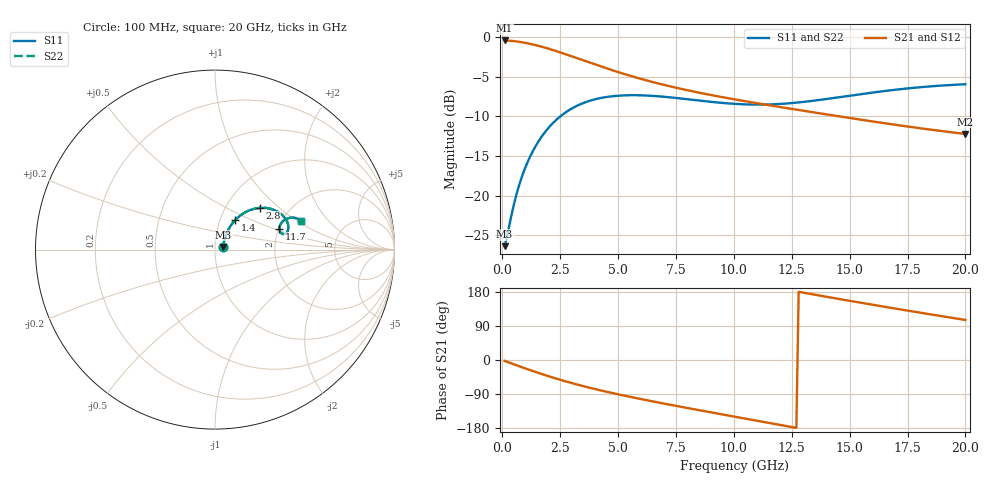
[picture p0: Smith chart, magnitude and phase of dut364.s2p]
! Touchstone file exported from HFSS 2024.1.0
!  File:  C:/UserFiles/LocalFiles/RDL_TSV_Batchsim/temp_RDL_TSV_364_1779641212.aedt
!  Generated:  01:05:12 AM May 25, 2026
!  Design:  RDL_TSV
!  Project:  temp_RDL_TSV_364_1779641212
!  Setup:  Setup1
!  Solution:  Sweep
! Variables:
!  dtsv = 8.88um
!  hbump = 3um
!  htsv = 69.46um
!  ldown = 581.64um
!  lrdl = 503.58um
!  p = 40
!  p1 = 59.18um
!  rhole = 10um
!  subl = 3759.24um
!  t = 450um
!  tdown = 3um
!  trdl = 2.39um
!  viad = 10um
!  wdown = 10.7um
!  wrdl = 10.44um
!  xbump = 18um
# GHz S MA R 50.000000
! Terminal data exported
! Port[1] = TM1_1_T1
! Port[2] = TM1_4_T1
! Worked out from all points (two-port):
!   200 points, 100 MHz to 20 GHz, reference 50 ohm
!   highest |S21| = -0.41 dB at 100 MHz (marker M1); lowest = -12.2 dB at 20 GHz (marker M2)
!   |S21| within 3 dB of the highest: start of sweep to 3.975 GHz
!   lowest |S11| = -26.4 dB at 100 MHz (marker M3), VSWR 1.10, Z = 54.8 + j1.53 ohm
!   |S11| at or under -10 dB: start of sweep to 2.501 GHz
!   |S22| runs from -26.4 to -5.9 dB; largest |S21 - S12| = 9.7e-15
!   S11 on the Smith chart (normalised r, x): 100 MHz: 1.10, +0.03; 1.4 GHz: 1.18, +0.41; 2.8 GHz: 1.43, +0.75; 11.7 GHz: 2.02, +0.55; 20 GHz: 2.51, +1.08
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0.1  0.04799 16.9  0.9541 -2.3  0.9541 -2.3  0.04799 16.9
! Gamma 0 0 0 0
! Port Impedance 50 0 50 0
0.2  0.05485 30.4  0.9529 -4.6  0.9529 -4.6  0.05485 30.4
0.5  0.08781 50.2  0.945 -11.4  0.945 -11.4  0.08781 50.2
0.7  0.113 54.6  0.9368 -15.9  0.9368 -15.9  0.113 54.6
1  0.1512 56.6  0.921 -22.4  0.921 -22.4  0.1512 56.6
1.4  0.2007 55.6  0.8944 -30.8  0.8944 -30.8  0.2007 55.6
1.7  0.2357 53.5  0.8713 -37.0  0.8713 -37.0  0.2358 53.5
2.1  0.2786 50.0  0.8376 -44.8  0.8376 -44.8  0.2787 50.0
2.8  0.3405 43.0  0.7753 -57.5  0.7753 -57.5  0.3406 43.1
3.5  0.3844 36.2  0.7141 -69.0  0.7141 -69.0  0.3845 36.2
4.2  0.4119 30.1  0.6582 -79.5  0.6582 -79.5  0.4121 30.1
5  0.4274 24.2  0.6026 -90.5  0.6026 -90.5  0.4276 24.3
5.9  0.4302 19.1  0.5505 -102.0  0.5505 -102.0  0.4305 19.2
6.8  0.4231 15.5  0.5079 -112.9  0.5079 -112.9  0.4235 15.6
8.4  0.4 12.7  0.4497 -131.3  0.4497 -131.3  0.4005 12.7
10.1  0.3792 14.2  0.4036 -150.4  0.4036 -150.4  0.3797 14.1
11.7  0.3772 18.0  0.3686 -168.1  0.3686 -168.1  0.3777 17.9
13.4  0.3967 21.7  0.3363 173.3  0.3363 173.3  0.3971 21.6
15.1  0.4294 23.2  0.3077 155.1  0.3077 155.1  0.4297 23.2
16.7  0.4613 22.7  0.2839 138.5  0.2839 138.5  0.4614 22.6
18.3  0.4871 20.9  0.2633 122.3  0.2633 122.3  0.4872 20.9
20  0.5049 18.5  0.2452 105.6  0.2452 105.6  0.505 18.4
